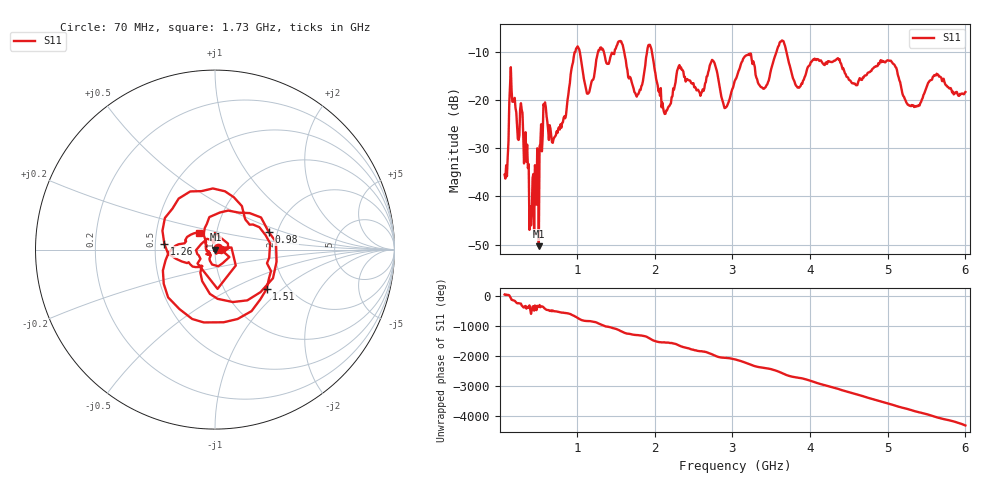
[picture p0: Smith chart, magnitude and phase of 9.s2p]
! S21 sweep bladeRF  2018-07-03T11:27:05
! Window=bharris  Blocks=64  Samples=2048  Method=median
! TX LUT = thru_txlut.csv
# Hz S DB R 50
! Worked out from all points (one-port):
!   594 points, 70 MHz to 6 GHz, reference 50 ohm
!   lowest |S11| = -50.3 dB at 510 MHz (marker M1), VSWR 1.01, Z = 50.3 - j0.124 ohm
!   |S11| at or under -10 dB: start of sweep to 980.4 MHz; 1.965 GHz to 3.569 GHz (1.604 GHz wide, 58 % of centre); 3.697 GHz to end of sweep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
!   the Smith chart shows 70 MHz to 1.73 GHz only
!   S11 on the Smith chart (normalised r, x): 70 MHz: 1.03, +0.02; 980 MHz: 1.80, +0.39; 1.26 GHz: 0.56, +0.04; 1.51 GHz: 1.56, -0.79; 1.73 GHz: 0.82, +0.16
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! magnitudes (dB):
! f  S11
! 70 MHz  -35.5
! 160 MHz  -18.1
! 290 MHz  -22.0
! 410 MHz  -46.0
! 510 MHz  -50.3
! 590 MHz  -20.5
! 820 MHz  -24.6
! 980 MHz  -10.0
! 1.14 GHz  -18.7
! 1.26 GHz  -10.9
! 1.51 GHz  -8.8
! 1.56 GHz  -7.7
! 1.73 GHz  -17.6
! 1.94 GHz  -8.6
! 2.14 GHz  -22.9
! 2.3 GHz  -13.5
! 2.59 GHz  -19.1
! 2.75 GHz  -11.8
! 2.91 GHz  -21.6
! 3.04 GHz  -15.8
! 3.22 GHz  -10.7
! 3.42 GHz  -17.4
! 3.64 GHz  -7.6
! 3.78 GHz  -15.4
! 4.52 GHz  -16.0
! 5.03 GHz  -11.9
! 5.26 GHz  -21.0
! 6 GHz  -18.3
